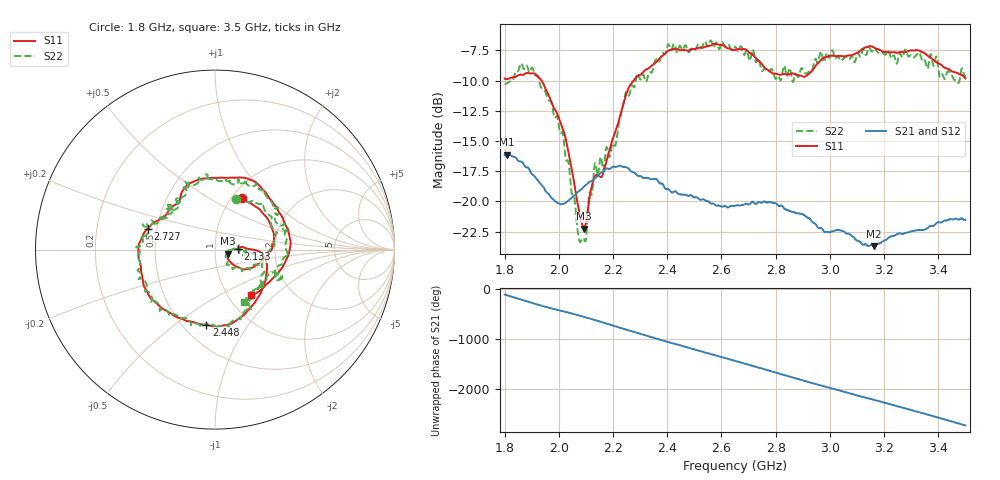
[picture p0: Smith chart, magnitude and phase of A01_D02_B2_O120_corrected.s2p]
! Created with skrf 1.9.0 (http://scikit-rf.org).
# Hz S RI R 50.0
!freq ReS11 ImS11 ReS21 ImS21 ReS12 ImS12 ReS22 ImS22
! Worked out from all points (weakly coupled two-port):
!   1601 points, 1.8 GHz to 3.5 GHz, reference 50 ohm
!   highest |S21| = -16.12 dB at 1.81 GHz (marker M1); lowest = -23.7 dB at 3.163 GHz (marker M2)
!   lowest |S11| = -22.3 dB at 2.093 GHz (marker M3), VSWR 1.17, Z = 57.9 - j2.67 ohm
!   |S11| at or under -10 dB: 1.937 GHz to 2.276 GHz (339.1 MHz wide, 16.1 % of centre)
!   |S22| runs from -23.4 to -6.7 dB; largest |S21 - S12| = 0.0025
!   S11 on the Smith chart (normalised r, x): 1.8 GHz: 1.11, +0.71; 2.133 GHz: 1.29, +0.01; 2.448 GHz: 0.64, -0.66; 2.727 GHz: 0.44, +0.12; 3.5 GHz: 1.27, -0.72
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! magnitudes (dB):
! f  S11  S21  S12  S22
! 1.8 GHz  -9.8  -16.2  -16.1  -10.3
! 1.81 GHz  -9.9  -16.1  -16.1  -10.2
! 1.902 GHz  -9.4  -17.8  -17.7  -8.9
! 1.969 GHz  -11.6  -19.6  -19.6  -11.7
! 2.023 GHz  -14.6  -20.1  -20.1  -16.1
! 2.084 GHz  -21.7  -19.0  -18.9  -23.2
! 2.093 GHz  -22.3  -18.8  -18.8  -23.1
! 2.133 GHz  -18.0  -18.1  -18.1  -16.9
! 2.162 GHz  -17.8  -17.6  -17.5  -17.3
! 2.208 GHz  -14.3  -17.1  -17.1  -15.4
! 2.261 GHz  -10.4  -17.4  -17.4  -11.1
! 2.367 GHz  -8.3  -18.4  -18.3  -8.4
! 2.448 GHz  -7.5  -19.4  -19.4  -7.1
! 2.65 GHz  -7.5  -20.4  -20.3  -7.2
! 2.727 GHz  -8.1  -20.2  -20.2  -8.4
! 2.812 GHz  -9.5  -20.4  -20.2  -9.7
! 2.934 GHz  -9.2  -21.6  -21.6  -9.2
! 3.163 GHz  -7.3  -23.7  -23.6  -7.3
! 3.217 GHz  -7.6  -23.0  -22.9  -7.6
! 3.328 GHz  -7.5  -22.4  -22.3  -7.6
! 3.414 GHz  -8.7  -21.7  -21.7  -9.5
! 3.5 GHz  -9.8  -21.5  -21.5  -9.5
